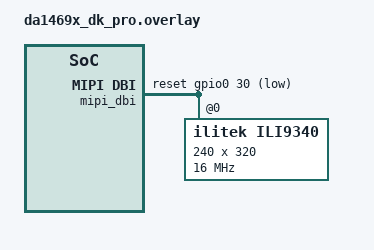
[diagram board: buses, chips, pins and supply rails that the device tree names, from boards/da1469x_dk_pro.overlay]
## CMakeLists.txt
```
# Copyright (c) 2023 Fabian Blatz <fabianblatz@gmail.com>
# SPDX-License-Identifier: Apache-2.0

cmake_minimum_required(VERSION 3.20.0)

find_package(Zephyr REQUIRED HINTS $ENV{ZEPHYR_BASE})
project(lvgl_sample)

set(LVGL_DIR ${ZEPHYR_LVGL_MODULE_DIR})

FILE(GLOB app_sources src/*.c)
target_sources(app PRIVATE ${app_sources})

target_include_directories(app PRIVATE
    ${LVGL_DIR}/demos/
)

target_sources_ifdef(CONFIG_LV_USE_DEMO_MUSIC app PRIVATE
    ${LVGL_DIR}/demos/music/lv_demo_music_list.c
    ${LVGL_DIR}/demos/music/lv_demo_music.c
    ${LVGL_DIR}/demos/music/lv_demo_music_main.c
    ${LVGL_DIR}/demos/music/assets/img_lv_demo_music_btn_next.c
    ${LVGL_DIR}/demos/music/assets/img_lv_demo_music_wave_top_large.c
    ${LVGL_DIR}/demos/music/assets/img_lv_demo_music_icon_4_large.c
    ${LVGL_DIR}/demos/music/assets/img_lv_demo_music_icon_4.c
    ${LVGL_DIR}/demos/music/assets/img_lv_demo_music_corner_right.c
    ${LVGL_DIR}/demos/music/assets/img_lv_demo_music_cover_1.c
    ${LVGL_DIR}/demos/music/assets/img_lv_demo_music_slider_knob_large.c
    ${LVGL_DIR}/demos/music/assets/img_lv_demo_music_icon_3.c
    ${LVGL_DIR}/demos/music/assets/img_lv_demo_music_btn_pause.c
    ${LVGL_DIR}/demos/music/assets/img_lv_demo_music_btn_pause_large.c
    ${LVGL_DIR}/demos/music/assets/img_lv_demo_music_wave_bottom_large.c
    ${LVGL_DIR}/demos/music/assets/img_lv_demo_music_icon_2_large.c
    ${LVGL_DIR}/demos/music/assets/img_lv_demo_music_btn_list_play_large.c
    ${LVGL_DIR}/demos/music/assets/img_lv_demo_music_wave_top.c
    ${LVGL_DIR}/demos/music/assets/img_lv_demo_music_btn_play_large.c
    ${LVGL_DIR}/demos/music/assets/img_lv_demo_music_cover_1_large.c
    ${LVGL_DIR}/demos/music/assets/img_lv_demo_music_wave_bottom.c
    ${LVGL_DIR}/demos/music/assets/img_lv_demo_music_corner_left_large.c
    ${LVGL_DIR}/demos/music/assets/img_lv_demo_music_btn_play.c
    ${LVGL_DIR}/demos/music/assets/img_lv_demo_music_list_border.c
    ${LVGL_DIR}/demos/music/assets/img_lv_demo_music_icon_2.c
    ${LVGL_DIR}/demos/music/assets/img_lv_demo_music_btn_next_large.c
    ${LVGL_DIR}/demos/music/assets/img_lv_demo_music_btn_list_play.c
    ${LVGL_DIR}/demos/music/assets/img_lv_demo_music_list_border_large.c
    ${LVGL_DIR}/demos/music/assets/img_lv_demo_music_btn_rnd.c
    ${LVGL_DIR}/demos/music/assets/img_lv_demo_music_cover_3.c
    ${LVGL_DIR}/demos/music/assets/img_lv_demo_music_btn_prev_large.c
    ${LVGL_DIR}/demos/music/assets/img_lv_demo_music_btn_loop.c
    ${LVGL_DIR}/demos/music/assets/img_lv_demo_music_icon_1.c
    ${LVGL_DIR}/demos/music/assets/img_lv_demo_music_slider_knob.c
    ${LVGL_DIR}/demos/music/assets/img_lv_demo_music_corner_right_large.c
    ${LVGL_DIR}/demos/music/assets/img_lv_demo_music_btn_corner_large.c
    ${LVGL_DIR}/demos/music/assets/img_lv_demo_music_corner_left.c
    ${LVGL_DIR}/demos/music/assets/img_lv_demo_music_cover_2_large.c
    ${LVGL_DIR}/demos/music/assets/img_lv_demo_music_icon_3_large.c
    ${LVGL_DIR}/demos/music/assets/img_lv_demo_music_icon_1_large.c
    ${LVGL_DIR}/demos/music/assets/img_lv_demo_music_cover_2.c
    ${LVGL_DIR}/demos/music/assets/img_lv_demo_music_btn_prev.c
    ${LVGL_DIR}/demos/music/assets/img_lv_demo_music_btn_rnd_large.c
    ${LVGL_DIR}/demos/music/assets/img_lv_demo_music_btn_list_pause_large.c
    ${LVGL_DIR}/demos/music/assets/img_lv_demo_music_cover_3_large.c
    ${LVGL_DIR}/demos/music/assets/img_lv_demo_music_btn_list_pause.c
    ${LVGL_DIR}/demos/music/assets/img_lv_demo_music_logo.c
    ${LVGL_DIR}/demos/music/assets/img_lv_demo_music_btn_loop_large.c
)

target_sources_ifdef(CONFIG_LV_USE_DEMO_BENCHMARK app PRIVATE
    ${LVGL_DIR}/demos/benchmark/lv_demo_benchmark.c
    ${LVGL_DIR}/demos/benchmark/assets/img_benchmark_cogwheel_indexed16.c
    ${LVGL_DIR}/demos/benchmark/assets/lv_font_bechmark_montserrat_28_compr_az.c.c
    ${LVGL_DIR}/demos/benchmark/assets/lv_font_bechmark_montserrat_16_compr_az.c.c
    ${LVGL_DIR}/demos/benchmark/assets/img_benchmark_cogwheel_argb.c
    ${LVGL_DIR}/demos/benchmark/assets/img_benchmark_cogwheel_alpha16.c
    ${LVGL_DIR}/demos/benchmark/assets/img_benchmark_cogwheel_rgb.c
    ${LVGL_DIR}/demos/benchmark/assets/lv_font_bechmark_montserrat_12_compr_az.c.c
    ${LVGL_DIR}/demos/benchmark/assets/img_benchmark_cogwheel_chroma_keyed.c
    ${LVGL_DIR}/demos/benchmark/assets/img_benchmark_cogwheel_rgb565a8.c
)

target_sources_ifdef(CONFIG_LV_USE_DEMO_STRESS app PRIVATE
    ${LVGL_DIR}/demos/stress/lv_demo_stress.c
)

target_sources_ifdef(CONFIG_LV_USE_DEMO_WIDGETS app PRIVATE
    ${LVGL_DIR}/demos/widgets/assets/img_lvgl_logo.c
    ${LVGL_DIR}/demos/widgets/lv_demo_widgets.c
    ${LVGL_DIR}/demos/widgets/assets/renesas_logo_105_105.c
    ${LVGL_DIR}/demos/widgets/assets/da1469x_module_54_45.c
    ${LVGL_DIR}/demos/widgets/assets/da1470x_devkit_54_42.c
    ${LVGL_DIR}/demos/widgets/assets/pro_devkit_54_43.c
    ${LVGL_DIR}/demos/widgets/assets/da14592_devkit_54_41.c
    ${LVGL_DIR}/demos/widgets/assets/usb_kit_54_17.c
    ${LVGL_DIR}/demos/widgets/assets/zephyr_logo.c
    ${LVGL_DIR}/demos/widgets/assets/temp_hum.c
    ${LVGL_DIR}/demos/widgets/assets/led.c
)
```

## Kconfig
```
# Copyright (c) 2023 Fabian Blatz <fabianblatz@gmail.com>
# SPDX-License-Identifier: Apache-2.0

choice LV_Z_DEMO
	prompt "LVGL demo to build"
	default LV_Z_DEMO_WIDGETS
	help
	  Demo application to build.

config LV_Z_DEMO_MUSIC
	bool "LVGL music demo"
	select LV_USE_DEMO_MUSIC
	help
	  Build music player demo application.

config LV_Z_DEMO_BENCHMARK
	bool "LVGL benchmark demo"
	select LV_USE_DEMO_BENCHMARK
	help
	  Build benchmarking demo application.

config LV_Z_DEMO_STRESS
	bool "LVGL stress demo"
	select LV_USE_DEMO_STRESS
	help
	  Build stress testing demo application.

config LV_Z_DEMO_WIDGETS
	bool "LVGL widgets demo"
	select LV_USE_DEMO_WIDGETS
	help
	  Build stress testing demo application.

endchoice



config LV_USE_ADXL_CUSTOM_TAB
	bool "ADXL Custom TAB"
	default n
	help
	  ADXL custom tab.

config LV_USE_RGB_CUSTOM_TAB
	bool "RGB Custom TAB"
	default n
	help
	  RGB custom tab.

config BT_DEVICE_NAME
	default "Renesas SmartBond Zephyr Demo" if LV_USE_RGB_CUSTOM_TAB
	default "Renesas Booth XX - Aisle X" if LV_USE_ADXL_CUSTOM_TAB

if LV_Z_DEMO_WIDGETS

choice LV_Z_DEMO_WIDGETS_CUSTOM_TAB
	prompt "LVGL custom window tab"
	default LV_Z_DEMO_RGB_CUSTOM_TAB
	help
	  Select the custom window to be created.

config LV_Z_DEMO_ADXL_CUSTOM_TAB
	bool "ADXL Custom Window"
	select LV_USE_ADXL_CUSTOM_TAB
	help
	  Select the ADXL custom tab.

config LV_Z_DEMO_RGB_CUSTOM_TAB
	bool "RGB Custom WIndow"
	select LV_USE_RGB_CUSTOM_TAB
	help
	  Select the RGB custom tab.

endchoice

endif # LV_Z_DEMO_WIDGETS

source "Kconfig.zephyr"
```

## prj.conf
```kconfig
CONFIG_MAIN_STACK_SIZE=4096
CONFIG_LOG=y
CONFIG_SHELL=y

CONFIG_LVGL=y
CONFIG_LV_Z_MEM_POOL_SIZE=49152
CONFIG_LV_Z_SHELL=y
CONFIG_LV_USE_MONKEY=y

CONFIG_DISPLAY=y
CONFIG_INPUT=y

CONFIG_LV_FONT_MONTSERRAT_12=y
CONFIG_LV_FONT_MONTSERRAT_14=y
CONFIG_LV_FONT_MONTSERRAT_16=y

# Benchmark Demo
CONFIG_LV_USE_FONT_COMPRESSED=y

########################################
CONFIG_BT=y
# CONFIG_BT_DEVICE_NAME="Renesas Embedded World 2024"
########################################

CONFIG_SHELL=y
CONFIG_RTC_SHELL=y
CONFIG_RTC=y
CONFIG_RTC_UPDATE=y

CONFIG_SENSOR=y
CONFIG_SENSOR_SHELL=y
CONFIG_HS300X=y
CONFIG_ADXL345=n
```

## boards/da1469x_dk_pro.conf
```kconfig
#
# Copyright (c) 2023 Renesas Electronics Corporation
#
# SPDX-License-Identifier: Apache-2.0
#
#
```

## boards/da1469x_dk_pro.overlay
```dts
/*
 * Copyright (c) 2023 Renesas Electronics Corporation
 *
 * SPDX-License-Identifier: Apache-2.0
 */

 #include <zephyr/dt-bindings/mipi_dbi/smartbond_mipi_dbi.h>
 #include <zephyr/dt-bindings/display/ili9xxx.h>
 #include <zephyr/dt-bindings/gpio/gpio.h>

 / {
    chosen {
        zephyr,display = &ili9340;
    };
 };

&mipi_dbi {
    reset-gpios = <&gpio0 30 GPIO_ACTIVE_LOW>;
    layer-format = <SMARTBOND_MIPI_DBI_L0_RGB565>;
    status = "okay";
    te-enable;

    ili9340: ili9340@0 {
        compatible = "ilitek,ili9340";
        spi-max-frequency = <16000000>;
        status = "okay";
        reg = <0>;
        width = <240>;
        height = <320>;
        pixel-format = <ILI9XXX_PIXEL_FORMAT_RGB565>;
    };
};
```

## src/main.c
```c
/*
 * Copyright (c) 2023 Fabian Blatz <fabianblatz@gmail.com>
 *
 * SPDX-License-Identifier: Apache-2.0
 */

#include <zephyr/kernel.h>
#include <zephyr/drivers/display.h>
#include <lvgl.h>
#include <lv_demos.h>

#define LOG_LEVEL CONFIG_LOG_DEFAULT_LEVEL
#include <zephyr/logging/log.h>
LOG_MODULE_REGISTER(app);

/* ============================================================================ */
#include <zephyr/types.h>
#include <stddef.h>
#include <zephyr/sys/printk.h>
#include <zephyr/sys/util.h>

#include <zephyr/bluetooth/bluetooth.h>
#include <zephyr/bluetooth/hci.h>

#define DEVICE_NAME CONFIG_BT_DEVICE_NAME
#define DEVICE_NAME_LEN (sizeof(DEVICE_NAME) - 1)

/*
 * Set Advertisement data. Based on the Eddystone specification:
 * https://github.com/google/eddystone/blob/master/protocol-specification.md
 * https://github.com/google/eddystone/tree/master/eddystone-url
 */
static const struct bt_data ad[] = {
	BT_DATA_BYTES(BT_DATA_FLAGS, BT_LE_AD_NO_BREDR),
	BT_DATA_BYTES(BT_DATA_UUID16_ALL, 0xaa, 0xfe),
	BT_DATA_BYTES(BT_DATA_SVC_DATA16,
		      0xaa, 0xfe, /* Eddystone UUID */
		      0x10, /* Eddystone-URL frame type */
		      0x00, /* Calibrated Tx power at 0m */
		      0x01, /* URL Scheme Prefix https://www. */
		      'r', 'e', 'n', 'e', 's', 'a', 's',
		      0x07) /* .com */
};

// static const struct bt_data ad[] = {
// 	BT_DATA_BYTES(BT_DATA_FLAGS, BT_LE_AD_NO_BREDR),
// 	BT_DATA_BYTES(BT_DATA_UUID16_ALL, 0xaa, 0xfe),
// 	BT_DATA_BYTES(BT_DATA_SVC_DATA16,
// 				0xaa, 0xfe, /* Edystone UUID */
// 				0x00, /* Eddystone-UID frame type */
// 				0x00, /* Calibrated Tx power at 0m */
// 				'B', 'o', 'o', 't', 'h', ' ', '2', '5', ' ', ' ', /* 10-byte namespace */
// 				'A', 'i', 's', 'l', 'e', '5', /* 6-byte namespace subset */
// 				0x00, 0x00) /* reserved for future use */
// };

/* Set Scan Response data */
static const struct bt_data sd[] = {
	BT_DATA(BT_DATA_NAME_COMPLETE, DEVICE_NAME, DEVICE_NAME_LEN),
};

static void bt_ready(int err)
{
	char addr_s[BT_ADDR_LE_STR_LEN];
	bt_addr_le_t addr = {0};
	size_t count = 1;

	if (err) {
		printk("Bluetooth init failed (err %d)\n", err);
		return;
	}

	printk("Bluetooth initialized\n");

	/* Start advertising */
	err = bt_le_adv_start(BT_LE_ADV_NCONN_IDENTITY, ad, ARRAY_SIZE(ad),
			      sd, ARRAY_SIZE(sd));
	if (err) {
		printk("Advertising failed to start (err %d)\n", err);
		return;
	}


	/* For connectable advertising you would use
	 * bt_le_oob_get_local().  For non-connectable non-identity
	 * advertising an non-resolvable private address is used;
	 * there is no API to retrieve that.
	 */

	bt_id_get(&addr, &count);
	bt_addr_le_to_str(&addr, addr_s, sizeof(addr_s));

	printk("Beacon started, advertising as %s\n", addr_s);
}

/* ============================================================================ */


int main(void)
{
/* ============================================================================ */
	int err;

	printk("Starting Beacon Demo\n");

	/* Initialize the Bluetooth Subsystem */
	err = bt_enable(bt_ready);
	if (err) {
		printk("Bluetooth init failed (err %d)\n", err);
	}
/* ============================================================================ */

	const struct device *display_dev;

	display_dev = DEVICE_DT_GET(DT_CHOSEN(zephyr_display));
	if (!device_is_ready(display_dev)) {
		LOG_ERR("Device not ready, aborting test");
		return 0;
	}

#if defined(CONFIG_LV_USE_DEMO_MUSIC)
	lv_demo_music();
#elif defined(CONFIG_LV_USE_DEMO_BENCHMARK)
	lv_demo_benchmark();
#elif defined(CONFIG_LV_USE_DEMO_STRESS)
	lv_demo_stress();
#elif defined(CONFIG_LV_USE_DEMO_WIDGETS)
	lv_demo_widgets();
#else
#error Enable one of the demos CONFIG_LV_USE_DEMO_MUSIC, CONFIG_LV_USE_DEMO_BENCHMARK ,\
	CONFIG_LV_USE_DEMO_STRESS, or CONFIG_LV_USE_DEMO_WIDGETS
#endif

	lv_task_handler();
	display_blanking_off(display_dev);

	while (1) {
		k_msleep(lv_task_handler());
	}

	return 0;
}
```
